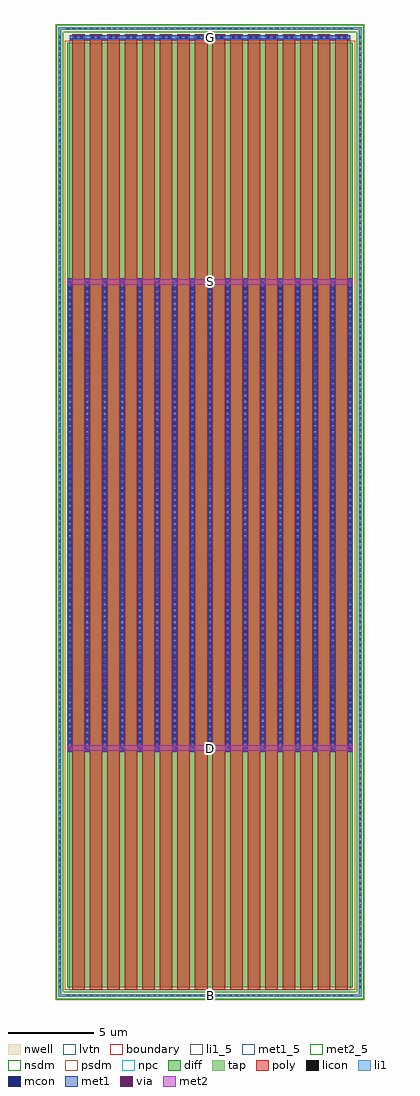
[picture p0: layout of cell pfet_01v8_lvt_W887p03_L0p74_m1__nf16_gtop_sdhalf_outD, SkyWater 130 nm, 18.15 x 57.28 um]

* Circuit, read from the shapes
.subckt pfet_01v8_lvt_W887p03_L0p74_m1__nf16_gtop_sdhalf_outD B D G S
XM1 S G D B sky130_fd_pr__pfet_01v8_lvt w=55.44 l=0.74 m=16
.ends

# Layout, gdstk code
import gdstk
lib = gdstk.Library(unit=1e-6, precision=1e-09)
def R(c, l, rs):  # rectangles x0, y0, x1, y1
    for r in rs: c.add(gdstk.rectangle(r[:2], r[2:], *l))
def A(c, l, x, y, w, h, nx, ny, dx, dy):  # array of equal rectangles
    R(c, l, [(x+i*dx, y+j*dy, x+i*dx+w, y+j*dy+h) for i in range(nx) for j in range(ny)])
nwell = (64, 20)
diff = (65, 20)
tap = (65, 44)
poly = (66, 20)
licon = (66, 44)
li1_5 = (67, 5)
li1 = (67, 20)
mcon = (67, 44)
met1_5 = (68, 5)
met1 = (68, 20)
via = (68, 44)
met2_5 = (69, 5)
met2 = (69, 20)
nsdm = (93, 44)
psdm = (94, 20)
npc = (95, 20)
lvtn = (125, 44)
boundary = (235, 4)

sky130_fd_pr__pfet_01v8_ = lib.new_cell('sky130_fd_pr__pfet_01v8_lvt_HXUTMQ')
R(sky130_fd_pr__pfet_01v8_, nwell, [(-9.075,-28.64,9.075,28.64)])
R(sky130_fd_pr__pfet_01v8_, diff, [(-8.385,-27.9,8.385,27.54)])
R(sky130_fd_pr__pfet_01v8_, tap, [(-8.895,-28.46,8.895,-28.29), (-8.895,-28.29,-8.725,28.29), (8.725,-28.29,8.895,28.29), (-8.895,28.29,8.895,28.46)])
A(sky130_fd_pr__pfet_01v8_, poly, -8.095, -28.03, 0.74, 56.055, 16, 1, 1.03, 0)
A(sky130_fd_pr__pfet_01v8_, licon, -8.415, -28.46, 0.17, 0.17, 50, 2, 0.34, 56.75)
A(sky130_fd_pr__pfet_01v8_, licon, -8.895, -27.965, 0.17, 0.17, 1, 165, 0, 0.34)
A(sky130_fd_pr__pfet_01v8_, licon, 8.725, -27.965, 0.17, 0.17, 1, 165, 0, 0.34)
A(sky130_fd_pr__pfet_01v8_, licon, -8.325, -13.865, 0.17, 0.17, 17, 81, 1.03, 0.34)
R(sky130_fd_pr__pfet_01v8_, licon, [(-7.98,27.775,-7.81,27.945), (-7.64,27.775,-7.47,27.945), (-6.95,27.775,-6.78,27.945), (-6.61,27.775,-6.44,27.945), (-5.92,27.775,-5.75,27.945), (-5.58,27.775,-5.41,27.945), (-4.89,27.775,-4.72,27.945), (-4.55,27.775,-4.38,27.945), (-3.86,27.775,-3.69,27.945), (-3.52,27.775,-3.35,27.945), (-2.83,27.775,-2.66,27.945), (-2.49,27.775,-2.32,27.945), (-1.8,27.775,-1.63,27.945), (-1.46,27.775,-1.29,27.945), (-0.77,27.775,-0.6,27.945), (-0.43,27.775,-0.26,27.945), (0.26,27.775,0.43,27.945), (0.6,27.775,0.77,27.945), (1.29,27.775,1.46,27.945), (1.63,27.775,1.8,27.945), (2.32,27.775,2.49,27.945), (2.66,27.775,2.83,27.945), (3.35,27.775,3.52,27.945), (3.69,27.775,3.86,27.945), (4.38,27.775,4.55,27.945), (4.72,27.775,4.89,27.945), (5.41,27.775,5.58,27.945), (5.75,27.775,5.92,27.945), (6.44,27.775,6.61,27.945), (6.78,27.775,6.95,27.945), (7.47,27.775,7.64,27.945), (7.81,27.775,7.98,27.945)])
A(sky130_fd_pr__pfet_01v8_, li1, -8.325, -14.09, 0.17, 27.82, 17, 1, 1.03, 0)
R(sky130_fd_pr__pfet_01v8_, li1, [(-8.895,-28.46,8.895,-28.29), (-8.895,-28.29,-8.725,28.29), (8.725,-28.29,8.895,28.29), (-8.24,27.775,8.24,27.945), (-8.895,28.29,8.895,28.46)])
A(sky130_fd_pr__pfet_01v8_, mcon, -8.325, -13.945, 0.17, 0.17, 17, 77, 1.03, 0.36)
R(sky130_fd_pr__pfet_01v8_, mcon, [(-7.99,27.775,-7.82,27.945), (-7.63,27.775,-7.46,27.945), (-6.96,27.775,-6.79,27.945), (-6.6,27.775,-6.43,27.945), (-5.93,27.775,-5.76,27.945), (-5.57,27.775,-5.4,27.945), (-4.9,27.775,-4.73,27.945), (-4.54,27.775,-4.37,27.945), (-3.87,27.775,-3.7,27.945), (-3.51,27.775,-3.34,27.945), (-2.84,27.775,-2.67,27.945), (-2.48,27.775,-2.31,27.945), (-1.81,27.775,-1.64,27.945), (-1.45,27.775,-1.28,27.945), (-0.78,27.775,-0.61,27.945), (-0.42,27.775,-0.25,27.945), (0.25,27.775,0.42,27.945), (0.61,27.775,0.78,27.945), (1.28,27.775,1.45,27.945), (1.64,27.775,1.81,27.945), (2.31,27.775,2.48,27.945), (2.67,27.775,2.84,27.945), (3.34,27.775,3.51,27.945), (3.7,27.775,3.87,27.945), (4.37,27.775,4.54,27.945), (4.73,27.775,4.9,27.945), (5.4,27.775,5.57,27.945), (5.76,27.775,5.93,27.945), (6.43,27.775,6.6,27.945), (6.79,27.775,6.96,27.945), (7.46,27.775,7.63,27.945), (7.82,27.775,7.99,27.945)])
A(sky130_fd_pr__pfet_01v8_, met1, -8.355, -14.07, 0.23, 27.78, 17, 1, 1.03, 0)
A(sky130_fd_pr__pfet_01v8_, met1, -8.075, 27.745, 0.7, 0.03, 16, 2, 1.03, 0.2)
R(sky130_fd_pr__pfet_01v8_, met1, [(-8.24,27.775,8.24,27.945)])
R(sky130_fd_pr__pfet_01v8_, nsdm, [(-9.02,-28.585,9.02,-28.165), (-9.02,-28.165,-8.6,28.165), (8.6,-28.165,9.02,28.165), (-9.02,28.165,9.02,28.585)])
R(sky130_fd_pr__pfet_01v8_, psdm, [(-8.51,-28.025,8.51,27.665)])
A(sky130_fd_pr__pfet_01v8_, npc, -8.08, 27.675, 0.71, 0.37, 16, 1, 1.03, 0)
R(sky130_fd_pr__pfet_01v8_, lvtn, [(-8.275,-28.08,8.275,27.72)])
R(sky130_fd_pr__pfet_01v8_, boundary, [(-8.81,-28.375,8.81,28.375)])
sky130_fd_pr__pfet_01v8_.add(gdstk.Label('B', (0,-28.375), layer=67, texttype=5))
sky130_fd_pr__pfet_01v8_.add(gdstk.Label('D0', (-8.24,-0.18), layer=67, texttype=5))
sky130_fd_pr__pfet_01v8_.add(gdstk.Label('G', (7.725,27.86), layer=67, texttype=5))
sky130_fd_pr__pfet_01v8_.add(gdstk.Label('G', (6.695,27.86), layer=67, texttype=5))
sky130_fd_pr__pfet_01v8_.add(gdstk.Label('G', (5.665,27.86), layer=67, texttype=5))
sky130_fd_pr__pfet_01v8_.add(gdstk.Label('G', (4.635,27.86), layer=67, texttype=5))
sky130_fd_pr__pfet_01v8_.add(gdstk.Label('G', (3.605,27.86), layer=67, texttype=5))
sky130_fd_pr__pfet_01v8_.add(gdstk.Label('G', (2.575,27.86), layer=67, texttype=5))
sky130_fd_pr__pfet_01v8_.add(gdstk.Label('G', (1.545,27.86), layer=67, texttype=5))
sky130_fd_pr__pfet_01v8_.add(gdstk.Label('G', (0.515,27.86), layer=67, texttype=5))
sky130_fd_pr__pfet_01v8_.add(gdstk.Label('G', (-0.515,27.86), layer=67, texttype=5))
sky130_fd_pr__pfet_01v8_.add(gdstk.Label('G', (-1.545,27.86), layer=67, texttype=5))
sky130_fd_pr__pfet_01v8_.add(gdstk.Label('G', (-2.575,27.86), layer=67, texttype=5))
sky130_fd_pr__pfet_01v8_.add(gdstk.Label('G', (-3.605,27.86), layer=67, texttype=5))
sky130_fd_pr__pfet_01v8_.add(gdstk.Label('G', (-4.635,27.86), layer=67, texttype=5))
sky130_fd_pr__pfet_01v8_.add(gdstk.Label('G', (-5.665,27.86), layer=67, texttype=5))
sky130_fd_pr__pfet_01v8_.add(gdstk.Label('G', (-6.695,27.86), layer=67, texttype=5))
sky130_fd_pr__pfet_01v8_.add(gdstk.Label('G', (-7.725,27.86), layer=67, texttype=5))
sky130_fd_pr__pfet_01v8_.add(gdstk.Label('S1', (-7.21,-0.18), layer=67, texttype=5))
sky130_fd_pr__pfet_01v8_.add(gdstk.Label('D2', (-6.18,-0.18), layer=67, texttype=5))
sky130_fd_pr__pfet_01v8_.add(gdstk.Label('S3', (-5.15,-0.18), layer=67, texttype=5))
sky130_fd_pr__pfet_01v8_.add(gdstk.Label('D4', (-4.12,-0.18), layer=67, texttype=5))
sky130_fd_pr__pfet_01v8_.add(gdstk.Label('S5', (-3.09,-0.18), layer=67, texttype=5))
sky130_fd_pr__pfet_01v8_.add(gdstk.Label('D6', (-2.06,-0.18), layer=67, texttype=5))
sky130_fd_pr__pfet_01v8_.add(gdstk.Label('S7', (-1.03,-0.18), layer=67, texttype=5))
sky130_fd_pr__pfet_01v8_.add(gdstk.Label('D8', (0,-0.18), layer=67, texttype=5))
sky130_fd_pr__pfet_01v8_.add(gdstk.Label('S9', (1.03,-0.18), layer=67, texttype=5))
sky130_fd_pr__pfet_01v8_.add(gdstk.Label('D10', (2.06,-0.18), layer=67, texttype=5))
sky130_fd_pr__pfet_01v8_.add(gdstk.Label('S11', (3.09,-0.18), layer=67, texttype=5))
sky130_fd_pr__pfet_01v8_.add(gdstk.Label('D12', (4.12,-0.18), layer=67, texttype=5))
sky130_fd_pr__pfet_01v8_.add(gdstk.Label('S13', (5.15,-0.18), layer=67, texttype=5))
sky130_fd_pr__pfet_01v8_.add(gdstk.Label('D14', (6.18,-0.18), layer=67, texttype=5))
sky130_fd_pr__pfet_01v8_.add(gdstk.Label('S15', (7.21,-0.18), layer=67, texttype=5))

pfet_01v8_lvt_w887p03_l0 = lib.new_cell('pfet_01v8_lvt_W887p03_L0p74_m1__nf16_gtop_sdhalf_outD')
R(pfet_01v8_lvt_w887p03_l0, li1_5, [(8.725,-0.085,8.895,0.085)])
R(pfet_01v8_lvt_w887p03_l0, li1, [(8.725,-0.085,8.895,0.085)])
R(pfet_01v8_lvt_w887p03_l0, met1_5, [(0.57,56.12,17.05,56.35)])
A(pfet_01v8_lvt_w887p03_l0, met1, 0.44, 14.355, 0.26, 0.32, 9, 1, 2.06, 0)
A(pfet_01v8_lvt_w887p03_l0, met1, 1.47, 41.715, 0.26, 0.32, 8, 1, 2.06, 0)
R(pfet_01v8_lvt_w887p03_l0, met1, [(0.57,56.12,17.05,56.35)])
A(pfet_01v8_lvt_w887p03_l0, via, 0.495, 14.44, 0.15, 0.15, 9, 1, 2.06, 0)
A(pfet_01v8_lvt_w887p03_l0, via, 1.525, 41.8, 0.15, 0.15, 8, 1, 2.06, 0)
R(pfet_01v8_lvt_w887p03_l0, met2_5, [(0.435,14.355,17.185,14.675), (0.435,41.715,17.185,42.035)])
R(pfet_01v8_lvt_w887p03_l0, met2, [(0.435,14.355,17.185,14.675), (0.435,41.715,17.185,42.035)])
pfet_01v8_lvt_w887p03_l0.add(gdstk.Reference(sky130_fd_pr__pfet_01v8_, (8.81,28.375)))
pfet_01v8_lvt_w887p03_l0.add(gdstk.Label('S', (8.81,41.875), layer=69, texttype=5))
pfet_01v8_lvt_w887p03_l0.add(gdstk.Label('D', (8.81,14.515), layer=69, texttype=5))
pfet_01v8_lvt_w887p03_l0.add(gdstk.Label('G', (8.81,56.235), layer=68, texttype=5))
pfet_01v8_lvt_w887p03_l0.add(gdstk.Label('B', (8.81,0), layer=67, texttype=5))

lib.write_gds('pfet_01v8_lvt_W887p03_L0p74_m1__nf16_gtop_sdhalf_outD.gds')
